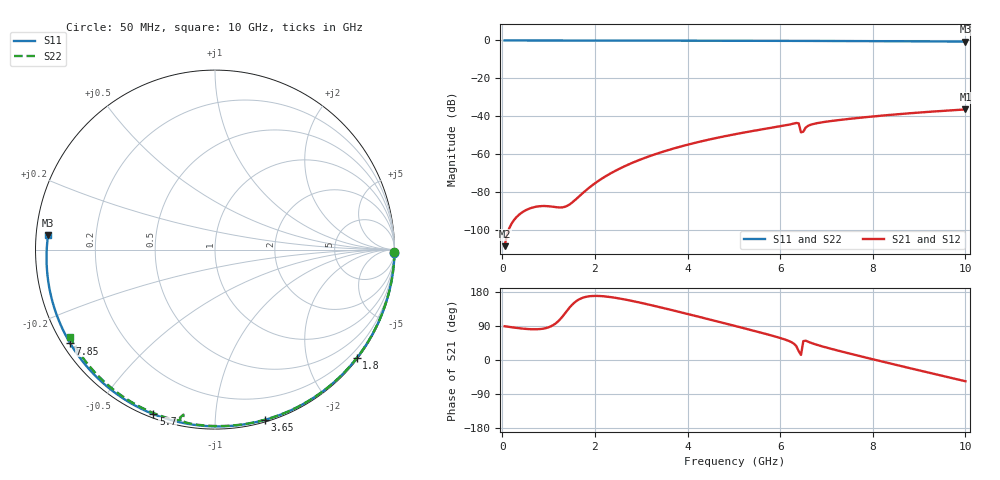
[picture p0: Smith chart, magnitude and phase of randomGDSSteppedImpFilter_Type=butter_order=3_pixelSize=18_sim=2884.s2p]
! freq	dB(S11)	phase(S11)	dB(S12)	phase(S12)
!  dB(S21)	phase(S21)	dB(S22)	phase(S22)
!S-par simulation data
#  GHz  S  DB  R 50
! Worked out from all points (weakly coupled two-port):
!   200 points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, 50 MHz to 10 GHz, reference 50 ohm
!   highest |S21| = -36.50 dB at 10 GHz (marker M1); lowest = -108.8 dB at 50 MHz (marker M2)
!   lowest |S11| = -0.6 dB at 10 GHz (marker M3), VSWR 29.11, Z = 1.72 + j2.16 ohm
!   |S11| at or under -10 dB: nowhere
!   |S22| runs from -0.6 to 0.0 dB; largest |S21 - S12| = 0
!   S11 on the Smith chart (normalised r, x): 50 MHz: open; 1.8 GHz: 0.03, -2.94; 3.65 GHz: 0.02, -1.33; 5.7 GHz: 0.02, -0.69; 7.85 GHz: 0.02, -0.30; 10 GHz: 0.03, +0.04
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0.05  -0.00 -1.1  -108.79 89.1  -108.79 89.1  -0.00 -0.9
0.85  -0.02 -17.9  -87.58 82.1  -87.58 82.1  -0.02 -14.5
1.75  -0.05 -36.5  -80.46 164.8  -80.46 164.8  -0.04 -29.6
1.8  -0.05 -37.5  -79.40 166.5  -79.40 166.5  -0.04 -30.4
2.15  -0.06 -44.6  -73.06 168.5  -73.06 168.5  -0.05 -36.2
2.5  -0.07 -51.5  -68.19 163.0  -68.19 163.0  -0.05 -41.9
3.4  -0.09 -69.0  -59.37 139.4  -59.37 139.4  -0.07 -56.2
3.65  -0.10 -73.7  -57.49 132.1  -57.49 132.1  -0.08 -60.1
4.35  -0.12 -86.6  -53.05 110.8  -53.05 110.8  -0.10 -70.8
5.05  -0.15 -99.2  -49.47 89.1  -49.47 89.1  -0.13 -81.2
5.7  -0.19 -110.5  -46.65 68.5  -46.65 68.5  -0.15 -90.7
6.35  -0.22 -121.7  -43.62 36.4  -43.62 36.4  -0.25 -100.8
6.4  -0.23 -122.5  -43.82 23.4  -43.82 23.4  -0.39 -101.8
6.45  -0.23 -123.4  -48.60 13.4  -48.60 13.4  -0.57 -100.8
6.5  -0.24 -124.2  -48.23 49.8  -48.23 49.8  -0.36 -100.6
6.55  -0.24 -125.1  -46.10 51.0  -46.10 51.0  -0.27 -101.6
6.6  -0.24 -125.9  -45.19 48.5  -45.19 48.5  -0.24 -102.5
6.7  -0.25 -127.6  -44.28 43.8  -44.28 43.8  -0.22 -104.1
7.85  -0.35 -147.0  -40.55 6.4  -40.55 6.4  -0.29 -120.0
8.35  -0.40 -155.6  -39.41 -8.4  -39.41 -8.4  -0.33 -126.7
9.2  -0.49 -170.4  -37.76 -33.1  -37.76 -33.1  -0.41 -138.0
10  -0.60 175.0  -36.50 -56.0  -36.50 -56.0  -0.51 -148.8
